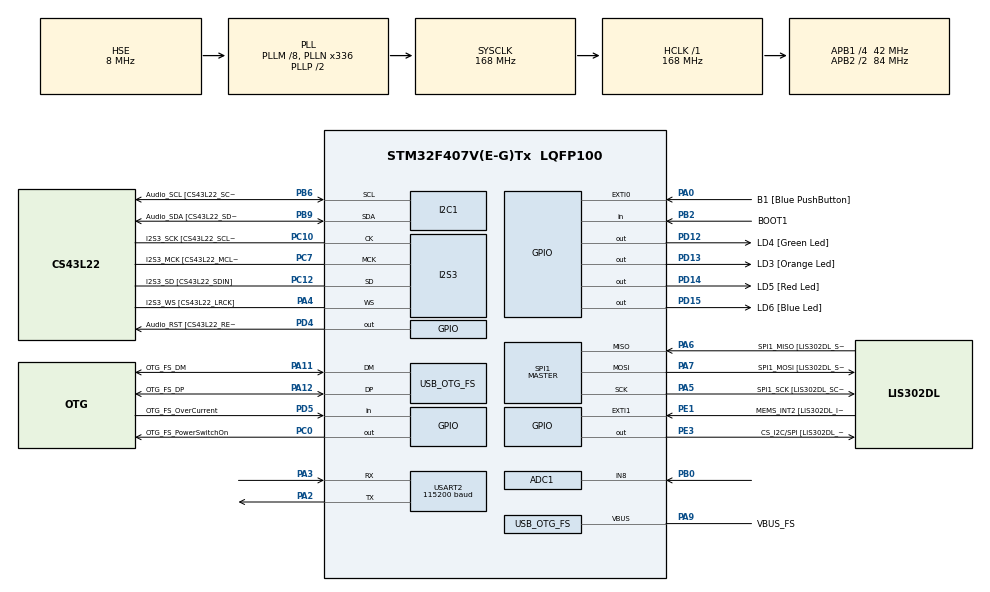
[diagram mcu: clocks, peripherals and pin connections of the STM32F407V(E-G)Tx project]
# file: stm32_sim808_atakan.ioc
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ADC1.Channel-1\#ChannelRegularConversion=ADC_CHANNEL_8
ADC1.ContinuousConvMode=ENABLE
ADC1.NbrOfConversionFlag=1
ADC1.Rank-1\#ChannelRegularConversion=1
ADC1.SamplingTime-1\#ChannelRegularConversion=ADC_SAMPLETIME_3CYCLES
ADC1.master=1
I2S3.AudioFreq-Half_Duplex_Master=I2S_AUDIOFREQ_96K
I2S3.ErrorAudioFreq=-2.34 %
I2S3.ErrorAudioFreq-Half_Duplex_Master=0.8 %
I2S3.FullDuplexMode=I2S_FULLDUPLEXMODE_DISABLE
I2S3.Instance=SPI$Index
I2S3.RealAudioFreq=93.75 KHz
I2S3.RealAudioFreq-Half_Duplex_Master=96.774 KHz
I2S3.VirtualMode=I2S_MODE_MASTER
Mcu.Family=STM32F4
Mcu.Name=STM32F407V(E-G)Tx
Mcu.Package=LQFP100
NVIC.OTG_FS_IRQn=true\:0\:0\:false\:false\:true\:true\:true\:true
NVIC.PriorityGroup=NVIC_PRIORITYGROUP_0
PA0-WKUP.GPIO_Label=B1 [Blue PushButton]
PA0-WKUP.GPIO_ModeDefaultEXTI=GPIO_MODE_EVT_RISING
PA0-WKUP.GPIO_PuPd=GPIO_NOPULL
PA0-WKUP.Signal=GPXTI0
PA10.GPIO_Label=OTG_FS_ID
PA10.GPIO_Mode=GPIO_MODE_AF_PP
PA10.GPIO_PuPd=GPIO_NOPULL
PA10.GPIO_Speed=GPIO_SPEED_FREQ_LOW
PA10.Signal=USB_OTG_FS_ID
PA11.GPIO_Label=OTG_FS_DM
PA11.GPIO_Mode=GPIO_MODE_AF_PP
PA11.GPIO_PuPd=GPIO_NOPULL
PA11.GPIO_Speed=GPIO_SPEED_FREQ_LOW
PA11.Mode=Host_Only
PA11.Signal=USB_OTG_FS_DM
PA12.GPIO_Label=OTG_FS_DP
PA12.GPIO_Mode=GPIO_MODE_AF_PP
PA12.GPIO_PuPd=GPIO_NOPULL
PA12.GPIO_Speed=GPIO_SPEED_FREQ_LOW
PA12.Mode=Host_Only
PA12.Signal=USB_OTG_FS_DP
PA13.GPIO_Label=SWDIO
PA13.Mode=Serial_Wire
PA13.Signal=SYS_JTMS-SWDIO
PA14.GPIO_Label=SWCLK
PA14.Mode=Serial_Wire
PA14.Signal=SYS_JTCK-SWCLK
PA2.Mode=Asynchronous
PA2.Signal=USART2_TX
PA3.Mode=Asynchronous
PA3.Signal=USART2_RX
PA4.GPIO_Label=I2S3_WS [CS43L22_LRCK]
PA4.GPIO_Mode=GPIO_MODE_AF_PP
PA4.GPIO_PuPd=GPIO_NOPULL
PA4.GPIO_Speed=GPIO_SPEED_FREQ_LOW
PA4.Mode=Half_Duplex_Master
PA4.Signal=I2S3_WS
PA5.GPIO_Label=SPI1_SCK [LIS302DL_SCL/SPC]
PA5.GPIO_Mode=GPIO_MODE_AF_PP
PA5.GPIO_PuPd=GPIO_NOPULL
PA5.GPIO_Speed=GPIO_SPEED_FREQ_LOW
PA5.Mode=Full_Duplex_Master
PA5.Signal=SPI1_SCK
PA6.GPIO_Label=SPI1_MISO [LIS302DL_SDO]
PA6.GPIO_Mode=GPIO_MODE_AF_PP
PA6.GPIO_PuPd=GPIO_NOPULL
PA6.GPIO_Speed=GPIO_SPEED_FREQ_LOW
PA6.Mode=Full_Duplex_Master
PA6.Signal=SPI1_MISO
PA7.GPIO_Label=SPI1_MOSI [LIS302DL_SDA/SDI/SDO]
PA7.GPIO_Mode=GPIO_MODE_AF_PP
PA7.GPIO_PuPd=GPIO_NOPULL
PA7.GPIO_Speed=GPIO_SPEED_FREQ_LOW
PA7.Mode=Full_Duplex_Master
PA7.Signal=SPI1_MOSI
PA9.GPIO_Label=VBUS_FS
PA9.GPIO_Mode=GPIO_MODE_INPUT
PA9.GPIO_PuPd=GPIO_NOPULL
PA9.Mode=Activate_VBUS
PA9.Signal=USB_OTG_FS_VBUS
PB0.Signal=ADCx_IN8
PB10.GPIO_Label=CLK_IN [MP45DT02_CLK]
PB10.GPIO_Mode=GPIO_MODE_AF_PP
PB10.GPIO_PuPd=GPIO_NOPULL
PB10.GPIO_Speed=GPIO_SPEED_FREQ_LOW
PB10.Signal=I2S2_CK
PB2.GPIO_Label=BOOT1
PB2.GPIO_Mode=GPIO_MODE_INPUT
PB2.GPIO_PuPd=GPIO_NOPULL
PB2.Signal=GPIO_Input
PB3.GPIO_Label=SWO
PB3.Signal=SYS_JTDO-SWO
PB6.GPIO_Label=Audio_SCL [CS43L22_SCL]
PB6.GPIO_Mode=GPIO_MODE_AF_OD
PB6.GPIO_Pu=GPIO_PULLUP
PB6.GPIO_PuPd=GPIO_NOPULL
PB6.GPIO_Speed=GPIO_SPEED_FREQ_LOW
PB6.Mode=I2C
PB6.Signal=I2C1_SCL
PB9.GPIO_Label=Audio_SDA [CS43L22_SDA]
PB9.GPIO_Mode=GPIO_MODE_AF_OD
PB9.GPIO_Pu=GPIO_PULLUP
PB9.GPIO_PuPd=GPIO_NOPULL
PB9.GPIO_Speed=GPIO_SPEED_FREQ_LOW
PB9.Mode=I2C
PB9.Signal=I2C1_SDA
PC0.GPIO_Label=OTG_FS_PowerSwitchOn
PC0.GPIO_PuPd=GPIO_NOPULL
PC0.GPIO_Speed=GPIO_SPEED_FREQ_LOW
PC0.PinState=GPIO_PIN_SET
PC0.Signal=GPIO_Output
PC10.GPIO_Label=I2S3_SCK [CS43L22_SCLK]
PC10.GPIO_Mode=GPIO_MODE_AF_PP
PC10.GPIO_PuPd=GPIO_NOPULL
PC10.GPIO_Speed=GPIO_SPEED_FREQ_LOW
PC10.Mode=Half_Duplex_Master
PC10.Signal=I2S3_CK
PC12.GPIO_Label=I2S3_SD [CS43L22_SDIN]
PC12.GPIO_Mode=GPIO_MODE_AF_PP
PC12.GPIO_PuPd=GPIO_NOPULL
PC12.GPIO_Speed=GPIO_SPEED_FREQ_LOW
PC12.Mode=Half_Duplex_Master
PC12.Signal=I2S3_SD
PC14-OSC32_IN.GPIO_Label=PC14-OSC32_IN
PC14-OSC32_IN.Mode=LSE-External-Oscillator
PC14-OSC32_IN.Signal=RCC_OSC32_IN
PC15-OSC32_OUT.GPIO_Label=PC15-OSC32_OUT
PC15-OSC32_OUT.Mode=LSE-External-Oscillator
PC15-OSC32_OUT.Signal=RCC_OSC32_OUT
PC3.GPIO_Label=PDM_OUT [MP45DT02_DOUT]
PC3.GPIO_Mode=GPIO_MODE_AF_PP
PC3.GPIO_PuPd=GPIO_NOPULL
PC3.GPIO_Speed=GPIO_SPEED_FREQ_LOW
PC3.Signal=I2S2_SD
PC7.GPIO_Label=I2S3_MCK [CS43L22_MCLK]
PC7.GPIO_Mode=GPIO_MODE_AF_PP
PC7.GPIO_PuPd=GPIO_NOPULL
PC7.GPIO_Speed=GPIO_SPEED_FREQ_LOW
PC7.Mode=Master_Clock_Activated
PC7.Signal=I2S3_MCK
PD12.GPIO_Label=LD4 [Green Led]
PD12.GPIO_PuPd=GPIO_NOPULL
PD12.GPIO_Speed=GPIO_SPEED_FREQ_LOW
PD12.Signal=GPIO_Output
PD13.GPIO_Label=LD3 [Orange Led]
PD13.GPIO_PuPd=GPIO_NOPULL
PD13.GPIO_Speed=GPIO_SPEED_FREQ_LOW
PD13.Signal=GPIO_Output
PD14.GPIO_Label=LD5 [Red Led]
PD14.GPIO_PuPd=GPIO_NOPULL
PD14.GPIO_Speed=GPIO_SPEED_FREQ_LOW
PD14.Signal=GPIO_Output
PD15.GPIO_Label=LD6 [Blue Led]
PD15.GPIO_PuPd=GPIO_NOPULL
PD15.GPIO_Speed=GPIO_SPEED_FREQ_LOW
PD15.Signal=GPIO_Output
PD4.GPIO_Label=Audio_RST [CS43L22_RESET]
PD4.GPIO_PuPd=GPIO_NOPULL
PD4.GPIO_Speed=GPIO_SPEED_FREQ_LOW
PD4.Signal=GPIO_Output
PD5.GPIO_Label=OTG_FS_OverCurrent
PD5.GPIO_Mode=GPIO_MODE_INPUT
PD5.GPIO_PuPd=GPIO_NOPULL
PD5.Signal=GPIO_Input
PE1.GPIO_Label=MEMS_INT2 [LIS302DL_INT2]
PE1.GPIO_ModeDefaultEXTI=GPIO_MODE_EVT_RISING
PE1.GPIO_PuPd=GPIO_NOPULL
PE1.Signal=GPXTI1
PE3.GPIO_Label=CS_I2C/SPI [LIS302DL_CS_I2C/SPI]
PE3.GPIO_PuPd=GPIO_NOPULL
PE3.GPIO_Speed=GPIO_SPEED_FREQ_LOW
PE3.Signal=GPIO_Output
PH0-OSC_IN.GPIO_Label=PH0-OSC_IN
PH0-OSC_IN.Mode=HSE-External-Oscillator
PH0-OSC_IN.Signal=RCC_OSC_IN
PH1-OSC_OUT.GPIO_Label=PH1-OSC_OUT
PH1-OSC_OUT.Mode=HSE-External-Oscillator
PH1-OSC_OUT.Signal=RCC_OSC_OUT
ProjectManager.HeapSize=0x200
ProjectManager.StackSize=0x400
ProjectManager.TargetToolchain=STM32CubeIDE
RCC.48MHZClocksFreq_Value=48000000
RCC.AHBFreq_Value=168000000
RCC.APB1CLKDivider=RCC_HCLK_DIV4
RCC.APB1Freq_Value=42000000
RCC.APB1TimFreq_Value=84000000
RCC.APB2CLKDivider=RCC_HCLK_DIV2
RCC.APB2Freq_Value=84000000
RCC.APB2TimFreq_Value=168000000
RCC.CortexFreq_Value=168000000
RCC.HCLKFreq_Value=168000000
RCC.HSE_VALUE=8000000
RCC.HSI_VALUE=16000000
RCC.PLLM=8
RCC.PLLN=336
RCC.PLLQ=7
RCC.SYSCLKFreq_VALUE=168000000
RCC.SYSCLKSource=RCC_SYSCLKSOURCE_PLLCLK
RCC.VCOOutputFreq_Value=336000000
SH.ADCx_IN8.0=ADC1_IN8,IN8
SPI1.BaudRatePrescaler-Full_Duplex_Master=SPI_BAUDRATEPRESCALER_2
SPI1.CalculateBaudRate-Full_Duplex_Master=42.0 MBits/s
SPI1.Direction=SPI_DIRECTION_2LINES
SPI1.Mode=SPI_MODE_MASTER
SPI1.Mode-Full_Duplex_Master=SPI_MODE_MASTER
SPI1.VirtualType=VM_MASTER
USART2.BaudRate=115200
USART2.VirtualMode=VM_ASYNC
USB_HOST.BSP.number=1
USB_HOST.USBH_HandleTypeDef-CDC_FS=hUsbHostFS
USB_HOST.VirtualModeFS=Cdc
USB_HOST0.BSP.STBoard=false
USB_HOST0.BSP.api=Unknown
USB_HOST0.BSP.instance=PC0
USB_HOST0.BSP.ip=GPIO
USB_HOST0.BSP.mode=Output
USB_HOST0.BSP.name=Drive_VBUS_FS
USB_HOST0.BSP.solution=PC0
USB_OTG_FS.VirtualMode=Host_Only
USB_OTG_FS.phy_itface=HCD_PHY_EMBEDDED
VP_USB_HOST_VS_USB_HOST_CDC_FS.Mode=CDC_FS
board=STM32F407G-DISC1

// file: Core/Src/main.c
/* USER CODE BEGIN Header */
/**
  ******************************************************************************
  * @file           : main.c
  * @brief          : Main program body
  ******************************************************************************
  * @attention
  *
  * Copyright (c) 2025 STMicroelectronics.
  * All rights reserved.
  *
  * This software is licensed under terms that can be found in the LICENSE file
  * in the root directory of this software component.
  * If no LICENSE file comes with this software, it is provided AS-IS.
  *
  ******************************************************************************
  */
/* USER CODE END Header */
#include "main.h"
#include "usb_host.h"

/* USER CODE BEGIN Includes */
#include <string.h>
#include <stdio.h>
#include <stdlib.h> // rand() ve srand() için
#include <time.h>   // srand() için

/* USER CODE END Includes */

ADC_HandleTypeDef hadc1;

I2C_HandleTypeDef hi2c1;

I2S_HandleTypeDef hi2s3;

SPI_HandleTypeDef hspi1;

UART_HandleTypeDef huart2;

/* USER CODE BEGIN PV */
float pot=0;
/* USER CODE END PV */

void SystemClock_Config(void);
static void MX_GPIO_Init(void);
static void MX_I2C1_Init(void);
static void MX_I2S3_Init(void);
static void MX_SPI1_Init(void);
static void MX_USART2_UART_Init(void);
static void MX_ADC1_Init(void);
void MX_USB_HOST_Process(void);

/* USER CODE BEGIN PFP */
void send_at_command(char *command, uint16_t delay);
void send_data_to_server(float voltages[20], float temperatures[6], float current, float speed, float energy, float voltage_sum);
void send_data_cont(float voltages[20], float temperatures[6], float current, float speed, float energy, float voltage_sum);

/* USER CODE END PFP */

/* USER CODE BEGIN 0 */
struct carData{
	  float voltage1;
	  float voltage2;
	  float voltage3;
	  float voltage4;
	  float voltage5;
	  float voltage6;
	  float voltage7;
	  float voltage8;
	  float voltage9;
	  float voltage10;
	  float voltage11;
	  float voltage12;
	  float voltage13;
	  float voltage14;
	  float voltage15;
	  float voltage16;
	  float voltage17;
	  float voltage18;
	  float voltage19;
	  float voltage20;
	  float totalVoltage;
	  float batteryTemp1;
	  float batteryTemp2;
	  float batteryTemp3;
	  float batteryTemp4;
	  float testTemp;
	  float motorTemp;
	  float speed;
	  float current;
	  float remainEnergy;
}data1;

/* USER CODE END 0 */

int main(void)
{

  /* MCU Configuration--------------------------------------------------------*/

  /* Reset of all peripherals, Initializes the Flash interface and the Systick. */
  HAL_Init();

  /* Configure the system clock */
  SystemClock_Config();

  /* Initialize all configured peripherals */
  MX_GPIO_Init();
  MX_I2C1_Init();
  MX_I2S3_Init();
  MX_SPI1_Init();
  MX_USB_HOST_Init();
  MX_USART2_UART_Init();
  MX_ADC1_Init();
  /* USER CODE BEGIN 2 */
  float voltages[20] = {
      	             99.99, 99.99, 99.99, 99.99, 99.99, 99.99, 99.99, 99.99, 99.99, 99.99,
      	             99.99, 99.99, 99.99, 99.99, 99.99, 99.99, 99.99, 99.99, 99.99, 99.99};

      	  float temperatures[6] = {99.99, 99.99, 99.99, 99.99, 99.99, 99.99};
      	  float current = 99.99;
      	  float speed = 99.99;
      	  float energy = 99.99;
      	  float voltage_sum = 99.99;

  srand(HAL_GetTick());
  send_data_to_server(voltages, temperatures, current, speed, energy, voltage_sum);
  HAL_Delay(1000);

  /* USER CODE END 2 */

  /* Infinite loop */
  while (1)
  {
    MX_USB_HOST_Process();

    /* USER CODE BEGIN 3 */
    //HAL_ADC_Start(&hadc1);
    //if (HAL_ADC_PollForConversion(&hadc1, HAL_MAX_DELAY) == HAL_OK) {
        //pot = HAL_ADC_GetValue(&hadc1);
    //}
    //mapped=pot/16;

    float voltages[20] = {
    	             pot, ((float)(rand()%40)), ((float)(rand()%40)), ((float)(rand()%40)), ((float)(rand()%40)), ((float)(rand()%40)), ((float)(rand()%40)), ((float)(rand()%40)), ((float)(rand()%40)), ((float)(rand()%40)),
					 ((float)(rand()%40)), ((float)(rand()%40)), ((float)(rand()%40)), ((float)(rand()%40)), ((float)(rand()%40)), ((float)(rand()%40)), ((float)(rand()%40)), ((float)(rand()%40)), ((float)(rand()%40))};

    	  float temperatures[6] = {22.3, 23.0, 21.8, 22.5, 23.1, 22.9};
    	  float current = (5+(float)(rand()%30));
    	  float speed = ((float)(20+rand()%120));
    	  float energy = (60+(float)(rand()%102));
    	  float voltage_sum = 250.0;

    	  send_data_cont(voltages, temperatures, current, speed, energy, voltage_sum);
    	  //HAL_Delay(10);

  }
  //HAL_ADC_Stop(&hadc1);
  /* USER CODE END 3 */
}

void SystemClock_Config(void)
{
  RCC_OscInitTypeDef RCC_OscInitStruct = {0};
  RCC_ClkInitTypeDef RCC_ClkInitStruct = {0};

  /** Configure the main internal regulator output voltage
  */
  __HAL_RCC_PWR_CLK_ENABLE();
  __HAL_PWR_VOLTAGESCALING_CONFIG(PWR_REGULATOR_VOLTAGE_SCALE1);

  /** Initializes the RCC Oscillators according to the specified parameters
  * in the RCC_OscInitTypeDef structure.
  */
  RCC_OscInitStruct.OscillatorType = RCC_OSCILLATORTYPE_HSE;
  RCC_OscInitStruct.HSEState = RCC_HSE_ON;
  RCC_OscInitStruct.PLL.PLLState = RCC_PLL_ON;
  RCC_OscInitStruct.PLL.PLLSource = RCC_PLLSOURCE_HSE;
  RCC_OscInitStruct.PLL.PLLM = 8;
  RCC_OscInitStruct.PLL.PLLN = 336;
  RCC_OscInitStruct.PLL.PLLP = RCC_PLLP_DIV2;
  RCC_OscInitStruct.PLL.PLLQ = 7;
  if (HAL_RCC_OscConfig(&RCC_OscInitStruct) != HAL_OK)
  {
    Error_Handler();
  }

  /** Initializes the CPU, AHB and APB buses clocks
  */
  RCC_ClkInitStruct.ClockType = RCC_CLOCKTYPE_HCLK|RCC_CLOCKTYPE_SYSCLK
                              |RCC_CLOCKTYPE_PCLK1|RCC_CLOCKTYPE_PCLK2;
  RCC_ClkInitStruct.SYSCLKSource = RCC_SYSCLKSOURCE_PLLCLK;
  RCC_ClkInitStruct.AHBCLKDivider = RCC_SYSCLK_DIV1;
  RCC_ClkInitStruct.APB1CLKDivider = RCC_HCLK_DIV4;
  RCC_ClkInitStruct.APB2CLKDivider = RCC_HCLK_DIV2;

  if (HAL_RCC_ClockConfig(&RCC_ClkInitStruct, FLASH_LATENCY_5) != HAL_OK)
  {
    Error_Handler();
  }
}

static void MX_ADC1_Init(void)
{

  ADC_ChannelConfTypeDef sConfig = {0};

  /** Configure the global features of the ADC (Clock, Resolution, Data Alignment and number of conversion)
  */
  hadc1.Instance = ADC1;
  hadc1.Init.ClockPrescaler = ADC_CLOCK_SYNC_PCLK_DIV4;
  hadc1.Init.Resolution = ADC_RESOLUTION_12B;
  hadc1.Init.ScanConvMode = DISABLE;
  hadc1.Init.ContinuousConvMode = ENABLE;
  hadc1.Init.DiscontinuousConvMode = DISABLE;
  hadc1.Init.ExternalTrigConvEdge = ADC_EXTERNALTRIGCONVEDGE_NONE;
  hadc1.Init.ExternalTrigConv = ADC_SOFTWARE_START;
  hadc1.Init.DataAlign = ADC_DATAALIGN_RIGHT;
  hadc1.Init.NbrOfConversion = 1;
  hadc1.Init.DMAContinuousRequests = DISABLE;
  hadc1.Init.EOCSelection = ADC_EOC_SINGLE_CONV;
  if (HAL_ADC_Init(&hadc1) != HAL_OK)
  {
    Error_Handler();
  }

  /** Configure for the selected ADC regular channel its corresponding rank in the sequencer and its sample time.
  */
  sConfig.Channel = ADC_CHANNEL_8;
  sConfig.Rank = 1;
  sConfig.SamplingTime = ADC_SAMPLETIME_3CYCLES;
  if (HAL_ADC_ConfigChannel(&hadc1, &sConfig) != HAL_OK)
  {
    Error_Handler();
  }

}

static void MX_I2C1_Init(void)
{

  hi2c1.Instance = I2C1;
  hi2c1.Init.ClockSpeed = 100000;
  hi2c1.Init.DutyCycle = I2C_DUTYCYCLE_2;
  hi2c1.Init.OwnAddress1 = 0;
  hi2c1.Init.AddressingMode = I2C_ADDRESSINGMODE_7BIT;
  hi2c1.Init.DualAddressMode = I2C_DUALADDRESS_DISABLE;
  hi2c1.Init.OwnAddress2 = 0;
  hi2c1.Init.GeneralCallMode = I2C_GENERALCALL_DISABLE;
  hi2c1.Init.NoStretchMode = I2C_NOSTRETCH_DISABLE;
  if (HAL_I2C_Init(&hi2c1) != HAL_OK)
  {
    Error_Handler();
  }

}

static void MX_I2S3_Init(void)
{

  hi2s3.Instance = SPI3;
  hi2s3.Init.Mode = I2S_MODE_MASTER_TX;
  hi2s3.Init.Standard = I2S_STANDARD_PHILIPS;
  hi2s3.Init.DataFormat = I2S_DATAFORMAT_16B;
  hi2s3.Init.MCLKOutput = I2S_MCLKOUTPUT_ENABLE;
  hi2s3.Init.AudioFreq = I2S_AUDIOFREQ_96K;
  hi2s3.Init.CPOL = I2S_CPOL_LOW;
  hi2s3.Init.ClockSource = I2S_CLOCK_PLL;
  hi2s3.Init.FullDuplexMode = I2S_FULLDUPLEXMODE_DISABLE;
  if (HAL_I2S_Init(&hi2s3) != HAL_OK)
  {
    Error_Handler();
  }

}

static void MX_SPI1_Init(void)
{

  /* SPI1 parameter configuration*/
  hspi1.Instance = SPI1;
  hspi1.Init.Mode = SPI_MODE_MASTER;
  hspi1.Init.Direction = SPI_DIRECTION_2LINES;
  hspi1.Init.DataSize = SPI_DATASIZE_8BIT;
  hspi1.Init.CLKPolarity = SPI_POLARITY_LOW;
  hspi1.Init.CLKPhase = SPI_PHASE_1EDGE;
  hspi1.Init.NSS = SPI_NSS_SOFT;
  hspi1.Init.BaudRatePrescaler = SPI_BAUDRATEPRESCALER_2;
  hspi1.Init.FirstBit = SPI_FIRSTBIT_MSB;
  hspi1.Init.TIMode = SPI_TIMODE_DISABLE;
  hspi1.Init.CRCCalculation = SPI_CRCCALCULATION_DISABLE;
  hspi1.Init.CRCPolynomial = 10;
  if (HAL_SPI_Init(&hspi1) != HAL_OK)
  {
    Error_Handler();
  }

}

static void MX_USART2_UART_Init(void)
{

  huart2.Instance = USART2;
  huart2.Init.BaudRate = 115200;
  huart2.Init.WordLength = UART_WORDLENGTH_8B;
  huart2.Init.StopBits = UART_STOPBITS_1;
  huart2.Init.Parity = UART_PARITY_NONE;
  huart2.Init.Mode = UART_MODE_TX_RX;
  huart2.Init.HwFlowCtl = UART_HWCONTROL_NONE;
  huart2.Init.OverSampling = UART_OVERSAMPLING_16;
  if (HAL_UART_Init(&huart2) != HAL_OK)
  {
    Error_Handler();
  }

}

static void MX_GPIO_Init(void)
{
  GPIO_InitTypeDef GPIO_InitStruct = {0};

  /* GPIO Ports Clock Enable */
  __HAL_RCC_GPIOE_CLK_ENABLE();
  __HAL_RCC_GPIOC_CLK_ENABLE();
  __HAL_RCC_GPIOH_CLK_ENABLE();
  __HAL_RCC_GPIOA_CLK_ENABLE();
  __HAL_RCC_GPIOB_CLK_ENABLE();
  __HAL_RCC_GPIOD_CLK_ENABLE();

  /*Configure GPIO pin Output Level */
  HAL_GPIO_WritePin(CS_I2C_SPI_GPIO_Port, CS_I2C_SPI_Pin, GPIO_PIN_RESET);

  /*Configure GPIO pin Output Level */
  HAL_GPIO_WritePin(OTG_FS_PowerSwitchOn_GPIO_Port, OTG_FS_PowerSwitchOn_Pin, GPIO_PIN_SET);

  /*Configure GPIO pin Output Level */
  HAL_GPIO_WritePin(GPIOD, LD4_Pin|LD3_Pin|LD5_Pin|LD6_Pin
                          |Audio_RST_Pin, GPIO_PIN_RESET);

  /*Configure GPIO pin : CS_I2C_SPI_Pin */
  GPIO_InitStruct.Pin = CS_I2C_SPI_Pin;
  GPIO_InitStruct.Mode = GPIO_MODE_OUTPUT_PP;
  GPIO_InitStruct.Pull = GPIO_NOPULL;
  GPIO_InitStruct.Speed = GPIO_SPEED_FREQ_LOW;
  HAL_GPIO_Init(CS_I2C_SPI_GPIO_Port, &GPIO_InitStruct);

  /*Configure GPIO pin : OTG_FS_PowerSwitchOn_Pin */
  GPIO_InitStruct.Pin = OTG_FS_PowerSwitchOn_Pin;
  GPIO_InitStruct.Mode = GPIO_MODE_OUTPUT_PP;
  GPIO_InitStruct.Pull = GPIO_NOPULL;
  GPIO_InitStruct.Speed = GPIO_SPEED_FREQ_LOW;
  HAL_GPIO_Init(OTG_FS_PowerSwitchOn_GPIO_Port, &GPIO_InitStruct);

  /*Configure GPIO pin : PDM_OUT_Pin */
  GPIO_InitStruct.Pin = PDM_OUT_Pin;
  GPIO_InitStruct.Mode = GPIO_MODE_AF_PP;
  GPIO_InitStruct.Pull = GPIO_NOPULL;
  GPIO_InitStruct.Speed = GPIO_SPEED_FREQ_LOW;
  GPIO_InitStruct.Alternate = GPIO_AF5_SPI2;
  HAL_GPIO_Init(PDM_OUT_GPIO_Port, &GPIO_InitStruct);

  /*Configure GPIO pin : B1_Pin */
  GPIO_InitStruct.Pin = B1_Pin;
  GPIO_InitStruct.Mode = GPIO_MODE_EVT_RISING;
  GPIO_InitStruct.Pull = GPIO_NOPULL;
  HAL_GPIO_Init(B1_GPIO_Port, &GPIO_InitStruct);

  /*Configure GPIO pin : BOOT1_Pin */
  GPIO_InitStruct.Pin = BOOT1_Pin;
  GPIO_InitStruct.Mode = GPIO_MODE_INPUT;
  GPIO_InitStruct.Pull = GPIO_NOPULL;
  HAL_GPIO_Init(BOOT1_GPIO_Port, &GPIO_InitStruct);

  /*Configure GPIO pin : CLK_IN_Pin */
  GPIO_InitStruct.Pin = CLK_IN_Pin;
  GPIO_InitStruct.Mode = GPIO_MODE_AF_PP;
  GPIO_InitStruct.Pull = GPIO_NOPULL;
  GPIO_InitStruct.Speed = GPIO_SPEED_FREQ_LOW;
  GPIO_InitStruct.Alternate = GPIO_AF5_SPI2;
  HAL_GPIO_Init(CLK_IN_GPIO_Port, &GPIO_InitStruct);

  /*Configure GPIO pins : LD4_Pin LD3_Pin LD5_Pin LD6_Pin
                           Audio_RST_Pin */
  GPIO_InitStruct.Pin = LD4_Pin|LD3_Pin|LD5_Pin|LD6_Pin
                          |Audio_RST_Pin;
  GPIO_InitStruct.Mode = GPIO_MODE_OUTPUT_PP;
  GPIO_InitStruct.Pull = GPIO_NOPULL;
  GPIO_InitStruct.Speed = GPIO_SPEED_FREQ_LOW;
  HAL_GPIO_Init(GPIOD, &GPIO_InitStruct);

  /*Configure GPIO pin : OTG_FS_OverCurrent_Pin */
  GPIO_InitStruct.Pin = OTG_FS_OverCurrent_Pin;
  GPIO_InitStruct.Mode = GPIO_MODE_INPUT;
  GPIO_InitStruct.Pull = GPIO_NOPULL;
  HAL_GPIO_Init(OTG_FS_OverCurrent_GPIO_Port, &GPIO_InitStruct);

  /*Configure GPIO pin : MEMS_INT2_Pin */
  GPIO_InitStruct.Pin = MEMS_INT2_Pin;
  GPIO_InitStruct.Mode = GPIO_MODE_EVT_RISING;
  GPIO_InitStruct.Pull = GPIO_NOPULL;
  HAL_GPIO_Init(MEMS_INT2_GPIO_Port, &GPIO_InitStruct);

}

/* USER CODE BEGIN 4 */
void send_at_command(char *command, uint16_t delay) {
    HAL_UART_Transmit(&huart2, (uint8_t *)command, strlen(command), HAL_MAX_DELAY);
    HAL_Delay(delay); // SIM808'den cevap beklemek için gecikme
}

void send_data_cont(float voltages[20], float temperatures[6], float current, float speed, float energy, float voltage_sum){
	char http_data[64];
	char json_payload[1024];
	sprintf(json_payload,"{\"Voltage1\": %.2f, \"Voltage2\": %.2f, \"Voltage3\": %.2f, \"Voltage4\": %.2f, "
	            "\"Voltage5\": %.2f, \"Voltage6\": %.2f, \"Voltage7\": %.2f, \"Voltage8\": %.2f, "
	            "\"Voltage9\": %.2f, \"Voltage10\": %.2f, \"Voltage11\": %.2f, \"Voltage12\": %.2f, "
	            "\"Voltage13\": %.2f, \"Voltage14\": %.2f, \"Voltage15\": %.2f, \"Voltage16\": %.2f, "
	            "\"Voltage17\": %.2f, \"Voltage18\": %.2f, \"Voltage19\": %.2f, \"Voltage20\": %.2f, "
	            "\"VoltageToplam\": %.2f, \"Sicaklik_1\": %.2f, \"Sicaklik_2\": %.2f, "
	            "\"Sicaklik_3\": %.2f, \"Sicaklik_4\": %.2f, \"Sicaklik_5\": %.2f, \"Sicaklik_6\": %.2f, "
	            "\"Current\": %.2f, \"Hiz\": %.2f, \"RemainingEnergy\": %.2f}",
	            voltages[0], voltages[1], voltages[2], voltages[3], voltages[4],
	            voltages[5], voltages[6], voltages[7], voltages[8], voltages[9],
	            voltages[10], voltages[11], voltages[12], voltages[13], voltages[14],
	            voltages[15], voltages[16], voltages[17], voltages[18], voltages[19],
	            voltage_sum, temperatures[0], temperatures[1], temperatures[2],
	            temperatures[3], temperatures[4], temperatures[5], current, speed, energy);
	sprintf(http_data, "AT+HTTPDATA=%d,5000\r\n", strlen(json_payload));
    send_at_command(http_data, 100);
    send_at_command(json_payload, 100);

    // POST isteği gönder
    send_at_command("AT+HTTPACTION=1\r\n", 100); // 1: POST
    HAL_Delay(1000); // Veriyi göndermek için biraz zaman tanı

}

void send_data_to_server(float voltages[20], float temperatures[6], float current, float speed, float energy, float voltage_sum) {
    char apn_setup[64];
    char http_init[32];
    char http_start[128];
    char http_data[64];
    char json_payload[2048];

    // JSON payload
    sprintf(json_payload,"{\"Voltage1\": %.2f, \"Voltage2\": %.2f, \"Voltage3\": %.2f, \"Voltage4\": %.2f, "
            "\"Voltage5\": %.2f, \"Voltage6\": %.2f, \"Voltage7\": %.2f, \"Voltage8\": %.2f, "
            "\"Voltage9\": %.2f, \"Voltage10\": %.2f, \"Voltage11\": %.2f, \"Voltage12\": %.2f, "
            "\"Voltage13\": %.2f, \"Voltage14\": %.2f, \"Voltage15\": %.2f, \"Voltage16\": %.2f, "
            "\"Voltage17\": %.2f, \"Voltage18\": %.2f, \"Voltage19\": %.2f, \"Voltage20\": %.2f, "
            "\"VoltageToplam\": %.2f, \"Sicaklik_1\": %.2f, \"Sicaklik_2\": %.2f, "
            "\"Sicaklik_3\": %.2f, \"Sicaklik_4\": %.2f, \"Sicaklik_5\": %.2f, \"Sicaklik_6\": %.2f, "
            "\"Current\": %.2f, \"Hiz\": %.2f, \"RemainingEnergy\": %.2f}",
            voltages[0], voltages[1], voltages[2], voltages[3], voltages[4],
            voltages[5], voltages[6], voltages[7], voltages[8], voltages[9],
            voltages[10], voltages[11], voltages[12], voltages[13], voltages[14],
            voltages[15], voltages[16], voltages[17], voltages[18], voltages[19],
            voltage_sum, temperatures[0], temperatures[1], temperatures[2],
            temperatures[3], temperatures[4], temperatures[5], current, speed, energy);

    // SIM808 başlatma
    send_at_command("AT\r\n", 1000); // AT komutuyla modülü kontrol et
    send_at_command("AT+SAPBR=3,1,\"CONTYPE\",\"GPRS\"\r\n", 1000); // GPRS yapılandırması
    sprintf(apn_setup, "AT+SAPBR=3,1,\"APN\",\"internet\"\r\n"); // APN'i "internet" olarak ayarla
    send_at_command(apn_setup, 1000);
    send_at_command("AT+SAPBR=1,1\r\n", 1000); // GPRS oturumunu başlat

    // HTTP başlatma
    send_at_command("AT+HTTPINIT\r\n", 1000); // HTTP başlat
    sprintf(http_init, "AT+HTTPPARA=\"CID\",1\r\n");
    send_at_command(http_init, 1000);
    send_at_command("AT+HTTPPARA=\"CONTENT\",\"application/json\"\r\n", 1000);//FORMATI BELİRTİYOR
    sprintf(http_start, "AT+HTTPPARA=\"URL\",\"http://maveratelemetryapp.somee.com/api/sensordata\"\r\n");
    send_at_command(http_start, 1000);

    // JSON içeriği gönderme
    sprintf(http_data, "AT+HTTPDATA=%d,10000\r\n", strlen(json_payload));
    send_at_command(http_data, 1000);
    send_at_command(json_payload, 1000);

    // POST isteği gönder
    send_at_command("AT+HTTPACTION=1\r\n", 1000); // 1: POST
    HAL_Delay(5000); // Veriyi göndermek için biraz zaman tanı

    // HTTP sonlandırma
    //send_at_command("AT+HTTPREAD\r\n", 1000);
    //send_at_command("AT+HTTPTERM\r\n", 1000); // HTTP oturumunu kapat
    }

/* USER CODE END 4 */

void Error_Handler(void)
{
  __disable_irq();
  while (1)
  {
  }
}
